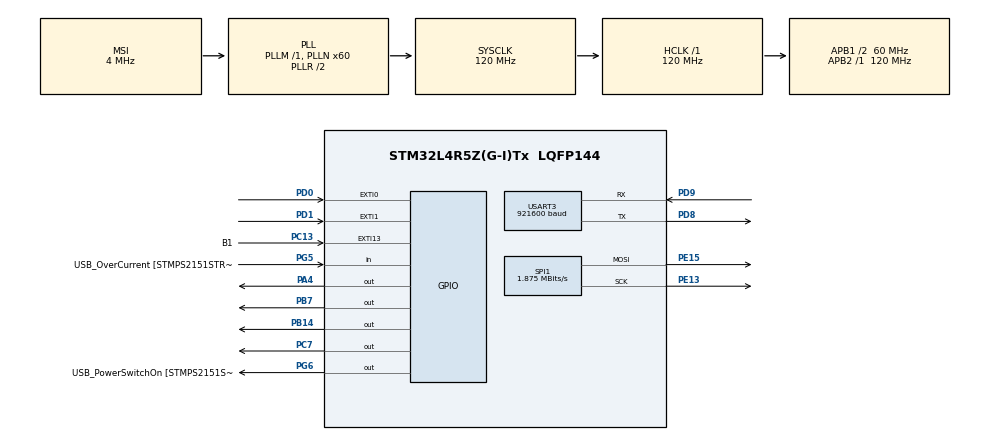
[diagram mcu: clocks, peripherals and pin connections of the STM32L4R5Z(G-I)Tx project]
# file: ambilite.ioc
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Dma.Request0=USART3_RX
Dma.USART3_RX.0.Direction=DMA_PERIPH_TO_MEMORY
Dma.USART3_RX.0.EventEnable=DISABLE
Dma.USART3_RX.0.Instance=DMA1_Channel1
Dma.USART3_RX.0.MemDataAlignment=DMA_MDATAALIGN_BYTE
Dma.USART3_RX.0.MemInc=DMA_MINC_ENABLE
Dma.USART3_RX.0.Mode=DMA_NORMAL
Dma.USART3_RX.0.PeriphDataAlignment=DMA_PDATAALIGN_BYTE
Dma.USART3_RX.0.PeriphInc=DMA_PINC_DISABLE
Dma.USART3_RX.0.Polarity=HAL_DMAMUX_REQUEST_GEN_RISING
Dma.USART3_RX.0.Priority=DMA_PRIORITY_LOW
Dma.USART3_RX.0.RequestNumber=1
Dma.USART3_RX.0.SignalID=NONE
Dma.USART3_RX.0.SyncEnable=DISABLE
Dma.USART3_RX.0.SyncPolarity=HAL_DMAMUX_SYNC_NO_EVENT
Dma.USART3_RX.0.SyncRequestNumber=1
Dma.USART3_RX.0.SyncSignalID=NONE
Mcu.Family=STM32L4
Mcu.Name=STM32L4R5Z(G-I)Tx
Mcu.Package=LQFP144
NVIC.DMA1_Channel1_IRQn=true\:0\:0\:false\:false\:true\:false\:true\:true
NVIC.EXTI0_IRQn=true\:0\:0\:false\:false\:true\:true\:true\:true
NVIC.EXTI1_IRQn=true\:0\:0\:false\:false\:true\:true\:true\:true
NVIC.PriorityGroup=NVIC_PRIORITYGROUP_4
PA10.GPIO_Label=USB_ID
PA10.Signal=USB_OTG_FS_ID
PA11.GPIO_Label=USB_DM
PA11.Signal=USB_OTG_FS_DM
PA12.GPIO_Label=USB_DP
PA12.Signal=USB_OTG_FS_DP
PA13\ (JTMS/SWDIO).GPIO_Label=TMS
PA13\ (JTMS/SWDIO).Mode=Trace_Asynchronous_SW
PA13\ (JTMS/SWDIO).Signal=SYS_JTMS-SWDIO
PA14\ (JTCK/SWCLK).GPIO_Label=TCK
PA14\ (JTCK/SWCLK).Mode=Trace_Asynchronous_SW
PA14\ (JTCK/SWCLK).Signal=SYS_JTCK-SWCLK
PA4.Signal=GPIO_Output
PA8.GPIO_Label=USB_SOF [TP1]
PA8.Signal=USB_OTG_FS_SOF
PA9.GPIO_Label=USB_VBUS
PA9.Signal=USB_OTG_FS_VBUS
PB14.Signal=GPIO_Output
PB3\ (JTDO/TRACESWO).GPIO_Label=SWO
PB3\ (JTDO/TRACESWO).Mode=Trace_Asynchronous_SW
PB3\ (JTDO/TRACESWO).Signal=SYS_JTDO-SWO
PB7.Signal=GPIO_Output
PC13.GPIO_Label=B1
PC13.Signal=GPXTI13
PC14-OSC32_IN\ (PC14).Mode=LSE-External-Oscillator
PC14-OSC32_IN\ (PC14).Signal=RCC_OSC32_IN
PC15-OSC32_OUT\ (PC15).Mode=LSE-External-Oscillator
PC15-OSC32_OUT\ (PC15).Signal=RCC_OSC32_OUT
PC7.Signal=GPIO_Output
PD0.GPIO_ModeDefaultEXTI=GPIO_MODE_IT_FALLING
PD0.Signal=GPXTI0
PD1.GPIO_ModeDefaultEXTI=GPIO_MODE_IT_FALLING
PD1.Signal=GPXTI1
PD8.Mode=Asynchronous
PD8.Signal=USART3_TX
PD9.Mode=Asynchronous
PD9.Signal=USART3_RX
PE13.Mode=TX_Only_Simplex_Unidirect_Master
PE13.Signal=SPI1_SCK
PE15.Mode=TX_Only_Simplex_Unidirect_Master
PE15.Signal=SPI1_MOSI
PG5.GPIO_Label=USB_OverCurrent [STMPS2151STR_FAULT]
PG5.Signal=GPIO_Input
PG6.GPIO_Label=USB_PowerSwitchOn [STMPS2151STR_En]
PG6.Signal=GPIO_Output
PG7.GPIO_Label=STLINK_TX
PG7.Signal=LPUART1_TX
PG8.GPIO_Label=STLINK_RX
PG8.Signal=LPUART1_RX
PH0-OSC_IN\ (PH0).Mode=HSE-External-Clock-Source
PH0-OSC_IN\ (PH0).Signal=RCC_OSC_IN
PH1-OSC_OUT\ (PH1).Signal=RCC_OSC_OUT
ProjectManager.HeapSize=0x200
ProjectManager.StackSize=0x400
ProjectManager.TargetToolchain=STM32CubeIDE
RCC.48MHZClocksFreq_Value=24000000
RCC.AHBFreq_Value=120000000
RCC.APB1CLKDivider=RCC_HCLK_DIV2
RCC.APB1Freq_Value=60000000
RCC.APB1TimFreq_Value=120000000
RCC.APB2Freq_Value=120000000
RCC.APB2TimFreq_Value=120000000
RCC.CortexFreq_Value=120000000
RCC.HCLKFreq_Value=120000000
RCC.HSE_VALUE=8000000
RCC.HSI48_VALUE=48000000
RCC.HSI_VALUE=16000000
RCC.MSI_VALUE=4000000
RCC.PLLMUL=RCC_PLL_MUL9
RCC.PLLN=60
RCC.PRESCALERUSB=RCC_USBCLKSOURCE_PLL_DIV1_5
RCC.SYSCLKFreq_VALUE=120000000
RCC.SYSCLKSource=RCC_SYSCLKSOURCE_PLLCLK
RCC.SYSCLKSourceVirtual=RCC_SYSCLKSOURCE_PLLCLK
RCC.USBFreq_Value=16000000
RCC.VCOOutputFreq_Value=240000000
SPI1.BaudRatePrescaler=SPI_BAUDRATEPRESCALER_64
SPI1.CalculateBaudRate=1.875 MBits/s
SPI1.DataSize=SPI_DATASIZE_8BIT
SPI1.Direction=SPI_DIRECTION_2LINES
SPI1.Mode=SPI_MODE_MASTER
SPI1.VirtualType=VM_MASTER
TIM2.Prescaler=120-1
USART3.BaudRate=921600
USART3.FIFOMode=FIFOMODE_ENABLE
USART3.VirtualMode-Asynchronous=VM_ASYNC
VP_TIM2_VS_ClockSourceINT.Mode=Internal
board=NUCLEO-L4R5ZI

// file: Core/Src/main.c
/* USER CODE BEGIN Header */
/**
 ******************************************************************************
 * @file           : main.c
 * @brief          : Main program body
 ******************************************************************************
 * @attention
 *
 * Copyright (c) 2023 STMicroelectronics.
 * All rights reserved.
 *
 * This software is licensed under terms that can be found in the LICENSE file
 * in the root directory of this software component.
 * If no LICENSE file comes with this software, it is provided AS-IS.
 *
 ******************************************************************************
 */
/* USER CODE END Header */
#include "main.h"

/* USER CODE BEGIN Includes */
#include "stdio.h"
//#include "math.h"
#include "stdlib.h"
//#include <stdbool.h>

/* USER CODE END Includes */

/* USER CODE BEGIN PTD */
#define NUMW 37
#define NUMH 21
#define NUMLED 37*2+21*2
#define NUMLED2 3*(37*2+21*2)

#define max(X,Y) ( (X) > (Y) ? (X) : (Y) )

typedef struct{
	uint8_t staticstart : 3;
	uint8_t globbright : 5;
	uint8_t b : 8;
	uint8_t g : 8;
	uint8_t r : 8;
} __attribute__((__packed__)) ledFrame;

typedef struct{
	uint32_t startFrame;
	ledFrame ledarray[NUMLED];
	uint32_t endFrame;
} Frame;

enum Color{Red, Green, Blue};
enum Mode{piCam, colorProfile, test, refreshBorder, still, runner, runner2, pulse, runner3};
enum Wanted{Top, Right, Bottom, Left};
enum piOpCode{null, update, send};
uint8_t index = 10;
int index2 = 240;

/* USER CODE END PTD */

SPI_HandleTypeDef hspi1;

TIM_HandleTypeDef htim2;

UART_HandleTypeDef huart3;
DMA_HandleTypeDef hdma_usart3_rx;

/* USER CODE BEGIN PV */

static enum Mode mode = colorProfile;
static int rgb_state = 0;

static int receive_signal_state = 0;
static int command = 0;
static int checksum = 0;
static int one_count = 0;

static int bit_pos;
static int lead_time;
static int bit_time;

static int receive_signal_state2 = 0;
static int command2 = 0;
static int checksum2 = 0;
static int one_count2 = 0;

static int bit_pos2;
static int lead_time2;
static int bit_time2;

/* USER CODE END PV */

void SystemClock_Config(void);
static void MX_GPIO_Init(void);
static void MX_DMA_Init(void);
static void MX_SPI1_Init(void);
static void MX_USART3_UART_Init(void);
static void MX_TIM2_Init(void);

/* USER CODE BEGIN 0 */
uint8_t flag=0;

void HAL_UART_RxCpltCallback(UART_HandleTypeDef *huart)
{
	flag=1;
}

/* USER CODE END 0 */

int main(void)
{

  /* MCU Configuration--------------------------------------------------------*/

  /* Reset of all peripherals, Initializes the Flash interface and the Systick. */
  HAL_Init();

  /* Configure the system clock */
  SystemClock_Config();

  /* Initialize all configured peripherals */
  MX_GPIO_Init();
  MX_DMA_Init();
  MX_SPI1_Init();
  MX_USART3_UART_Init();
  MX_TIM2_Init();

  /* Infinite loop */
  /* USER CODE BEGIN WHILE */

	//LED Strip Setup
	volatile uint8_t data[400];

	Frame frame;
	frame.startFrame = 0;
	frame.endFrame = 0xFFFFFFFF;
	for (int i =0; i<NUMLED;++i){
		frame.ledarray[i].b = 0;
		frame.ledarray[i].g = 0;
		frame.ledarray[i].r = 0;

		frame.ledarray[i].staticstart = 0b111;
		frame.ledarray[i].globbright = 0b11111;
	}
	HAL_SPI_Transmit(&hspi1, &frame, sizeof(Frame), 10000);

	enum piOpCode op = send;

	//Mode select
	//enum Mode mode = piCam;
	//enum Wanted nextNeeded = Top;
	enum Color currentColor = Green;
	int increment = 15;

	//Color Profiling Mode Config
	int8_t modg = 4;
	int8_t modr = 5;
	int8_t modb = 3;
	uint8_t green = 190;
	uint8_t red = 6;
	uint8_t blue = 40;
	uint16_t delay = 50;

	while (1)
	{

		if (mode == piCam){
			//Wait for start frame 1001
			uint8_t buf[1];
			uint8_t bufR[1];
			bufR[0] = 0;
			buf[0] = op;
			uint8_t stop = 0;
			do{ //handshake
				HAL_UART_Abort(&huart3);
				HAL_DMA_Abort(&hdma_usart3_rx);
				HAL_UART_Transmit(&huart3, buf, 1, 100);
				HAL_UART_Receive(&huart3, bufR, 1, 1000);

				if(mode!=piCam){
					stop=1;
					break;
				}

			}while(bufR[0] != 101);

			if(stop){
				stop=0;
				continue;
			}

			HAL_UART_Abort(&huart3);
			HAL_DMA_Abort(&hdma_usart3_rx);
			HAL_UART_Receive_DMA(&huart3, data, NUMLED2);

			uint8_t bool=0;

			while(flag==0){
				bool;
			}

			for(int i = 0; i < NUMLED; i++)
			{
				float brightness = max(max(data[3*i], data[3*i+1]), data[3*i+2])/255.0;
				float thresh= 0.0;

				uint8_t ledbrite = 0 + ((31 - 0) / (255 - 0)) * (brightness - 0);

				if(i < 37)
				{

					frame.ledarray[37 -i - 1].b =  brightness > thresh ? data[3*i+0]: 0 ;
					frame.ledarray[37 -i - 1].g =  brightness > thresh ? data[3*i+1]: 0 ;
					frame.ledarray[37 -i - 1].r =  brightness > thresh ? data[3*i+2]: 0 ;

				}
				else if(i < 58)
				{
					frame.ledarray[NUMLED -i + 36].b =  brightness > thresh ? data[3*i+0]: 0 ;
					frame.ledarray[NUMLED -i + 36].g =  brightness > thresh ? data[3*i+1]: 0 ;
					frame.ledarray[NUMLED -i + 36].r = brightness > thresh ? data[3*i+2]: 0 ;

				}
				else if(i < 95)
				{
					frame.ledarray[NUMLED - 22 - i + 58].b =  brightness > thresh ? data[3*i+0]: 0 ;
					frame.ledarray[NUMLED - 22 - i + 58].g =  brightness > thresh ?data[3*i+1]: 0 ;
					frame.ledarray[NUMLED - 22 - i + 58].r =  brightness > thresh ? data[3*i+2]: 0 ;

				}
				else
				{
					frame.ledarray[57 -i + 95].b =  brightness > thresh ? data[3*i+0]: 0 ;
					frame.ledarray[57 -i + 95].g = brightness > thresh ? data[3*i+1]: 0 ;
					frame.ledarray[57 -i + 95].r =  brightness > thresh ?data[3*i+2]: 0 ;
				}
			}

			HAL_SPI_Transmit(&hspi1, &frame, sizeof(Frame), 10000);

			//while(1){}
			HAL_Delay(5);
			flag=0;
		}

		else if (mode == refreshBorder){ //Ask pi to update the border, wait for a 101 ACK message back.0
			op = update;
			uint8_t buf[1];
			buf[0] = op;
			uint8_t bufR[1];
			bufR[0] = 0;

			uint8_t stop = 0;

			do{ //handshake
				HAL_UART_Abort(&huart3);
				HAL_DMA_Abort(&hdma_usart3_rx);
				HAL_UART_Transmit(&huart3, buf, 1, 100);
				HAL_UART_Receive(&huart3, bufR, 1, 1000);
				if(mode!=piCam){
					stop=1;
					break;
				}

			}while(bufR[0] != 101);

			if(stop) {
				stop=0;
				continue;
			}

			mode = piCam;
			op = send;
		}

		//Mode 2 -- CP
		else if(mode == colorProfile){
			for (int i =0; i<NUMLED;++i){
				frame.ledarray[i].b = blue;
				frame.ledarray[i].g = green;
				frame.ledarray[i].r = red;
			}
			HAL_SPI_Transmit(&hspi1, &frame, sizeof(Frame), 1000);

			if(green<=5 || green>=250)
				modg*=-1;
			if(red <=5 || red >= 250)
				modr*=-1;
			if(blue <=5 || blue >= 250)
				modb*=-1;

			green+=modg;
			blue+=modb;
			red+=modr;

			HAL_Delay(delay);
		}

    /* USER CODE END WHILE */

	}
}

void SystemClock_Config(void)
{
  RCC_OscInitTypeDef RCC_OscInitStruct = {0};
  RCC_ClkInitTypeDef RCC_ClkInitStruct = {0};

  /** Configure the main internal regulator output voltage
  */
  if (HAL_PWREx_ControlVoltageScaling(PWR_REGULATOR_VOLTAGE_SCALE1_BOOST) != HAL_OK)
  {
    Error_Handler();
  }

  /** Initializes the RCC Oscillators according to the specified parameters
  * in the RCC_OscInitTypeDef structure.
  */
  RCC_OscInitStruct.OscillatorType = RCC_OSCILLATORTYPE_MSI;
  RCC_OscInitStruct.MSIState = RCC_MSI_ON;
  RCC_OscInitStruct.MSICalibrationValue = 0;
  RCC_OscInitStruct.MSIClockRange = RCC_MSIRANGE_6;
  RCC_OscInitStruct.PLL.PLLState = RCC_PLL_ON;
  RCC_OscInitStruct.PLL.PLLSource = RCC_PLLSOURCE_MSI;
  RCC_OscInitStruct.PLL.PLLM = 1;
  RCC_OscInitStruct.PLL.PLLN = 60;
  RCC_OscInitStruct.PLL.PLLP = RCC_PLLP_DIV2;
  RCC_OscInitStruct.PLL.PLLQ = RCC_PLLQ_DIV2;
  RCC_OscInitStruct.PLL.PLLR = RCC_PLLR_DIV2;
  if (HAL_RCC_OscConfig(&RCC_OscInitStruct) != HAL_OK)
  {
    Error_Handler();
  }

  /** Initializes the CPU, AHB and APB buses clocks
  */
  RCC_ClkInitStruct.ClockType = RCC_CLOCKTYPE_HCLK|RCC_CLOCKTYPE_SYSCLK
                              |RCC_CLOCKTYPE_PCLK1|RCC_CLOCKTYPE_PCLK2;
  RCC_ClkInitStruct.SYSCLKSource = RCC_SYSCLKSOURCE_PLLCLK;
  RCC_ClkInitStruct.AHBCLKDivider = RCC_SYSCLK_DIV1;
  RCC_ClkInitStruct.APB1CLKDivider = RCC_HCLK_DIV2;
  RCC_ClkInitStruct.APB2CLKDivider = RCC_HCLK_DIV1;

  if (HAL_RCC_ClockConfig(&RCC_ClkInitStruct, FLASH_LATENCY_5) != HAL_OK)
  {
    Error_Handler();
  }
}

static void MX_SPI1_Init(void)
{

  /* SPI1 parameter configuration*/
  hspi1.Instance = SPI1;
  hspi1.Init.Mode = SPI_MODE_MASTER;
  hspi1.Init.Direction = SPI_DIRECTION_2LINES;
  hspi1.Init.DataSize = SPI_DATASIZE_8BIT;
  hspi1.Init.CLKPolarity = SPI_POLARITY_LOW;
  hspi1.Init.CLKPhase = SPI_PHASE_1EDGE;
  hspi1.Init.NSS = SPI_NSS_SOFT;
  hspi1.Init.BaudRatePrescaler = SPI_BAUDRATEPRESCALER_64;
  hspi1.Init.FirstBit = SPI_FIRSTBIT_MSB;
  hspi1.Init.TIMode = SPI_TIMODE_DISABLE;
  hspi1.Init.CRCCalculation = SPI_CRCCALCULATION_DISABLE;
  hspi1.Init.CRCPolynomial = 7;
  hspi1.Init.CRCLength = SPI_CRC_LENGTH_DATASIZE;
  hspi1.Init.NSSPMode = SPI_NSS_PULSE_ENABLE;
  if (HAL_SPI_Init(&hspi1) != HAL_OK)
  {
    Error_Handler();
  }

}

static void MX_TIM2_Init(void)
{

  TIM_ClockConfigTypeDef sClockSourceConfig = {0};
  TIM_MasterConfigTypeDef sMasterConfig = {0};

  htim2.Instance = TIM2;
  htim2.Init.Prescaler = 120-1;
  htim2.Init.CounterMode = TIM_COUNTERMODE_UP;
  htim2.Init.Period = 4294967295;
  htim2.Init.ClockDivision = TIM_CLOCKDIVISION_DIV1;
  htim2.Init.AutoReloadPreload = TIM_AUTORELOAD_PRELOAD_DISABLE;
  if (HAL_TIM_Base_Init(&htim2) != HAL_OK)
  {
    Error_Handler();
  }
  sClockSourceConfig.ClockSource = TIM_CLOCKSOURCE_INTERNAL;
  if (HAL_TIM_ConfigClockSource(&htim2, &sClockSourceConfig) != HAL_OK)
  {
    Error_Handler();
  }
  sMasterConfig.MasterOutputTrigger = TIM_TRGO_RESET;
  sMasterConfig.MasterSlaveMode = TIM_MASTERSLAVEMODE_DISABLE;
  if (HAL_TIMEx_MasterConfigSynchronization(&htim2, &sMasterConfig) != HAL_OK)
  {
    Error_Handler();
  }

}

static void MX_USART3_UART_Init(void)
{

  huart3.Instance = USART3;
  huart3.Init.BaudRate = 921600;
  huart3.Init.WordLength = UART_WORDLENGTH_8B;
  huart3.Init.StopBits = UART_STOPBITS_1;
  huart3.Init.Parity = UART_PARITY_NONE;
  huart3.Init.Mode = UART_MODE_TX_RX;
  huart3.Init.HwFlowCtl = UART_HWCONTROL_NONE;
  huart3.Init.OverSampling = UART_OVERSAMPLING_16;
  huart3.Init.OneBitSampling = UART_ONE_BIT_SAMPLE_DISABLE;
  huart3.Init.ClockPrescaler = UART_PRESCALER_DIV1;
  huart3.AdvancedInit.AdvFeatureInit = UART_ADVFEATURE_NO_INIT;
  if (HAL_UART_Init(&huart3) != HAL_OK)
  {
    Error_Handler();
  }
  if (HAL_UARTEx_SetTxFifoThreshold(&huart3, UART_TXFIFO_THRESHOLD_1_8) != HAL_OK)
  {
    Error_Handler();
  }
  if (HAL_UARTEx_SetRxFifoThreshold(&huart3, UART_RXFIFO_THRESHOLD_1_8) != HAL_OK)
  {
    Error_Handler();
  }
  if (HAL_UARTEx_EnableFifoMode(&huart3) != HAL_OK)
  {
    Error_Handler();
  }

}

static void MX_DMA_Init(void)
{

  /* DMA controller clock enable */
  __HAL_RCC_DMAMUX1_CLK_ENABLE();
  __HAL_RCC_DMA1_CLK_ENABLE();

  /* DMA interrupt init */
  /* DMA1_Channel1_IRQn interrupt configuration */
  HAL_NVIC_SetPriority(DMA1_Channel1_IRQn, 0, 0);
  HAL_NVIC_EnableIRQ(DMA1_Channel1_IRQn);

}

static void MX_GPIO_Init(void)
{
  GPIO_InitTypeDef GPIO_InitStruct = {0};

  /* GPIO Ports Clock Enable */
  __HAL_RCC_GPIOC_CLK_ENABLE();
  __HAL_RCC_GPIOH_CLK_ENABLE();
  __HAL_RCC_GPIOA_CLK_ENABLE();
  __HAL_RCC_GPIOE_CLK_ENABLE();
  __HAL_RCC_GPIOB_CLK_ENABLE();
  __HAL_RCC_GPIOD_CLK_ENABLE();
  __HAL_RCC_GPIOG_CLK_ENABLE();
  HAL_PWREx_EnableVddIO2();

  /*Configure GPIO pin Output Level */
  HAL_GPIO_WritePin(GPIOA, GPIO_PIN_4, GPIO_PIN_RESET);

  /*Configure GPIO pin Output Level */
  HAL_GPIO_WritePin(GPIOB, GPIO_PIN_14|GPIO_PIN_7, GPIO_PIN_RESET);

  /*Configure GPIO pin Output Level */
  HAL_GPIO_WritePin(USB_PowerSwitchOn_GPIO_Port, USB_PowerSwitchOn_Pin, GPIO_PIN_RESET);

  /*Configure GPIO pin Output Level */
  HAL_GPIO_WritePin(GPIOC, GPIO_PIN_7, GPIO_PIN_RESET);

  /*Configure GPIO pin : B1_Pin */
  GPIO_InitStruct.Pin = B1_Pin;
  GPIO_InitStruct.Mode = GPIO_MODE_IT_RISING;
  GPIO_InitStruct.Pull = GPIO_NOPULL;
  HAL_GPIO_Init(B1_GPIO_Port, &GPIO_InitStruct);

  /*Configure GPIO pin : PA4 */
  GPIO_InitStruct.Pin = GPIO_PIN_4;
  GPIO_InitStruct.Mode = GPIO_MODE_OUTPUT_PP;
  GPIO_InitStruct.Pull = GPIO_NOPULL;
  GPIO_InitStruct.Speed = GPIO_SPEED_FREQ_LOW;
  HAL_GPIO_Init(GPIOA, &GPIO_InitStruct);

  /*Configure GPIO pins : PB14 PB7 */
  GPIO_InitStruct.Pin = GPIO_PIN_14|GPIO_PIN_7;
  GPIO_InitStruct.Mode = GPIO_MODE_OUTPUT_PP;
  GPIO_InitStruct.Pull = GPIO_NOPULL;
  GPIO_InitStruct.Speed = GPIO_SPEED_FREQ_LOW;
  HAL_GPIO_Init(GPIOB, &GPIO_InitStruct);

  /*Configure GPIO pin : USB_OverCurrent_Pin */
  GPIO_InitStruct.Pin = USB_OverCurrent_Pin;
  GPIO_InitStruct.Mode = GPIO_MODE_INPUT;
  GPIO_InitStruct.Pull = GPIO_NOPULL;
  HAL_GPIO_Init(USB_OverCurrent_GPIO_Port, &GPIO_InitStruct);

  /*Configure GPIO pin : USB_PowerSwitchOn_Pin */
  GPIO_InitStruct.Pin = USB_PowerSwitchOn_Pin;
  GPIO_InitStruct.Mode = GPIO_MODE_OUTPUT_PP;
  GPIO_InitStruct.Pull = GPIO_NOPULL;
  GPIO_InitStruct.Speed = GPIO_SPEED_FREQ_LOW;
  HAL_GPIO_Init(USB_PowerSwitchOn_GPIO_Port, &GPIO_InitStruct);

  /*Configure GPIO pins : STLINK_TX_Pin STLINK_RX_Pin */
  GPIO_InitStruct.Pin = STLINK_TX_Pin|STLINK_RX_Pin;
  GPIO_InitStruct.Mode = GPIO_MODE_AF_PP;
  GPIO_InitStruct.Pull = GPIO_NOPULL;
  GPIO_InitStruct.Speed = GPIO_SPEED_FREQ_VERY_HIGH;
  GPIO_InitStruct.Alternate = GPIO_AF8_LPUART1;
  HAL_GPIO_Init(GPIOG, &GPIO_InitStruct);

  /*Configure GPIO pin : PC7 */
  GPIO_InitStruct.Pin = GPIO_PIN_7;
  GPIO_InitStruct.Mode = GPIO_MODE_OUTPUT_PP;
  GPIO_InitStruct.Pull = GPIO_NOPULL;
  GPIO_InitStruct.Speed = GPIO_SPEED_FREQ_LOW;
  HAL_GPIO_Init(GPIOC, &GPIO_InitStruct);

  /*Configure GPIO pins : USB_SOF_Pin USB_ID_Pin USB_DM_Pin USB_DP_Pin */
  GPIO_InitStruct.Pin = USB_SOF_Pin|USB_ID_Pin|USB_DM_Pin|USB_DP_Pin;
  GPIO_InitStruct.Mode = GPIO_MODE_AF_PP;
  GPIO_InitStruct.Pull = GPIO_NOPULL;
  GPIO_InitStruct.Speed = GPIO_SPEED_FREQ_VERY_HIGH;
  GPIO_InitStruct.Alternate = GPIO_AF10_OTG_FS;
  HAL_GPIO_Init(GPIOA, &GPIO_InitStruct);

  /*Configure GPIO pin : USB_VBUS_Pin */
  GPIO_InitStruct.Pin = USB_VBUS_Pin;
  GPIO_InitStruct.Mode = GPIO_MODE_INPUT;
  GPIO_InitStruct.Pull = GPIO_NOPULL;
  HAL_GPIO_Init(USB_VBUS_GPIO_Port, &GPIO_InitStruct);

  /*Configure GPIO pins : PD0 PD1 */
  GPIO_InitStruct.Pin = GPIO_PIN_0|GPIO_PIN_1;
  GPIO_InitStruct.Mode = GPIO_MODE_IT_FALLING;
  GPIO_InitStruct.Pull = GPIO_NOPULL;
  HAL_GPIO_Init(GPIOD, &GPIO_InitStruct);

  /* EXTI interrupt init*/
  HAL_NVIC_SetPriority(EXTI0_IRQn, 0, 0);
  HAL_NVIC_EnableIRQ(EXTI0_IRQn);

  HAL_NVIC_SetPriority(EXTI1_IRQn, 0, 0);
  HAL_NVIC_EnableIRQ(EXTI1_IRQn);

}

/* USER CODE BEGIN 4 */
void HAL_GPIO_EXTI_Callback(uint16_t GPIO_Pin) {
	if (GPIO_Pin == GPIO_PIN_0) {
		// read data packet
		//		receive_signal();

		switch(receive_signal_state) {
		case 0:
			// measure leading frame
			__HAL_TIM_SET_COUNTER(&htim2,0);
			++receive_signal_state;

			break;
		case 1:
			// validate leading frame
			lead_time = __HAL_TIM_GET_COUNTER(&htim2);
			__HAL_TIM_SET_COUNTER(&htim2,0);

//			if (lead_time > 23500 && lead_time < 25500) {
//				++receive_signal_state;
//				bit_pos = 3;
//			} else {
//				--receive_signal_state;
//			}

			if (lead_time > 20 && lead_time < 30000) {
				++receive_signal_state;
				bit_pos = 3;
			} else {
				--receive_signal_state;
			}

			break;
		case 2:
			// read 4-bit command
			bit_time = __HAL_TIM_GET_COUNTER(&htim2);
			__HAL_TIM_SET_COUNTER(&htim2,0);

			if (bit_time > 3000) {
				command |= (1 << bit_pos);
				++one_count;
			}

			--bit_pos;

			if (bit_pos == -1) {
				++receive_signal_state;
				bit_pos = 2;
			}

			break;
		case 3:
			// read 3-bit checksum
			bit_time = __HAL_TIM_GET_COUNTER(&htim2);
			__HAL_TIM_SET_COUNTER(&htim2,0);

			if (bit_time > 3000) {
				checksum |= (1 << bit_pos);
			}

			--bit_pos;

			// set and reset
			if (bit_pos == -1) {
				if (checksum == one_count) {
					mode = command;
				}

				command = 0;
				checksum = 0;
				one_count = 0;
				receive_signal_state = 0;
			}

			break;
		}

	}

	if (GPIO_Pin == GPIO_PIN_1) {
		// read data packet
		//		receive_signal();

		switch(receive_signal_state2) {
		case 0:
			// measure leading frame
			__HAL_TIM_SET_COUNTER(&htim2,0);
			++receive_signal_state2;

			break;
		case 1:
			// validate leading frame
//			lead_time2 = __HAL_TIM_GET_COUNTER(&htim2);
//			__HAL_TIM_SET_COUNTER(&htim2,0);
//
//			if (lead_time2 > 23500 && lead_time2 < 25500) {
//				++receive_signal_state2;
//				bit_pos2 = 3;
//			} else {
//				--receive_signal_state2;
//			}

			lead_time2 = __HAL_TIM_GET_COUNTER(&htim2);
			__HAL_TIM_SET_COUNTER(&htim2,0);

			if (lead_time2 > 30 && lead_time2 < 30000) {
				++receive_signal_state2;
				bit_pos2 = 3;
			} else {
				--receive_signal_state2;
			}

			break;
		case 2:
			// read 4-bit command
			bit_time2 = __HAL_TIM_GET_COUNTER(&htim2);
			__HAL_TIM_SET_COUNTER(&htim2,0);

			if (bit_time2 > 3000) {
				command2 |= (1 << bit_pos2);
				++one_count2;
			}

			--bit_pos2;

			if (bit_pos2 == -1) {
				++receive_signal_state2;
				bit_pos2 = 2;
			}

			break;
		case 3:
			// read 3-bit checksum
			bit_time2 = __HAL_TIM_GET_COUNTER(&htim2);
			__HAL_TIM_SET_COUNTER(&htim2,0);

			if (bit_time2 > 3000) {
				checksum2 |= (1 << bit_pos2);
			}

			--bit_pos2;

			// set and reset
			if (bit_pos2 == -1) {
				if (checksum2 == one_count2) {
					mode = command2;
				}

				command2 = 0;
				checksum2 = 0;
				one_count2 = 0;
				receive_signal_state2 = 0;
			}

			break;
		}

	}
}

/* USER CODE END 4 */

void Error_Handler(void)
{
	__disable_irq();
	while (1)
	{
	}
}
